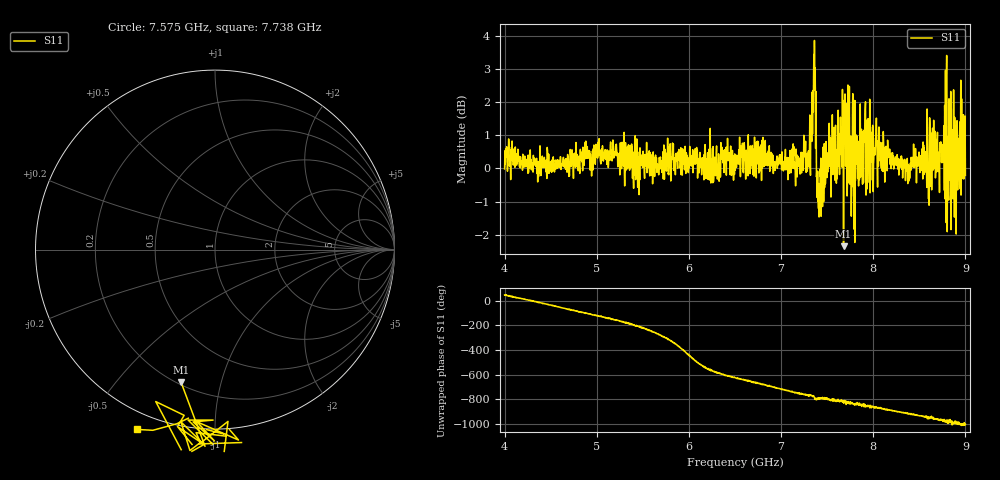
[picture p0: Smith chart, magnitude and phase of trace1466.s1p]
! Created with skrf 1.8.0 (http://scikit-rf.org).
# Hz S RI R 50.0
!freq ReS11 ImS11
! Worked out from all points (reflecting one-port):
!   1601 points, 4 GHz to 9 GHz, reference 50 ohm
!   lowest |S11| = -2.3 dB at 7.678 GHz (marker M1), VSWR 7.46, Z = 10.6 - j37.7 ohm
!   phase of S11 starts at 45 deg and turns -1050 deg over the sweep
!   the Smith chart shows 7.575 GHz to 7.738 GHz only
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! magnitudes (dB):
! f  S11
! 4 GHz  0.0
! 4.625 GHz  0.1
! 5.25 GHz  -0.2
! 5.875 GHz  0.1
! 6.5 GHz  0.1
! 7.125 GHz  0.2
! 7.294 GHz  0.1
! 7.356 GHz  3.4
! 7.409 GHz  -0.5
! 7.512 GHz  0.3
! 7.609 GHz  -0.3
! 7.678 GHz  -2.3
! 7.75 GHz  0.3
! 7.775 GHz  1.8
! 7.8 GHz  -2.2
! 7.859 GHz  1.9
! 7.922 GHz  -0.8
! 7.981 GHz  0.4
! 8.05 GHz  0.8
! 8.375 GHz  -0.5
! 8.616 GHz  1.2
! 8.638 GHz  0.7
! 8.697 GHz  1.1
! 8.766 GHz  1.1
! 8.775 GHz  1.9
! 8.828 GHz  0.1
! 8.972 GHz  0.0
! 9 GHz  -0.2
